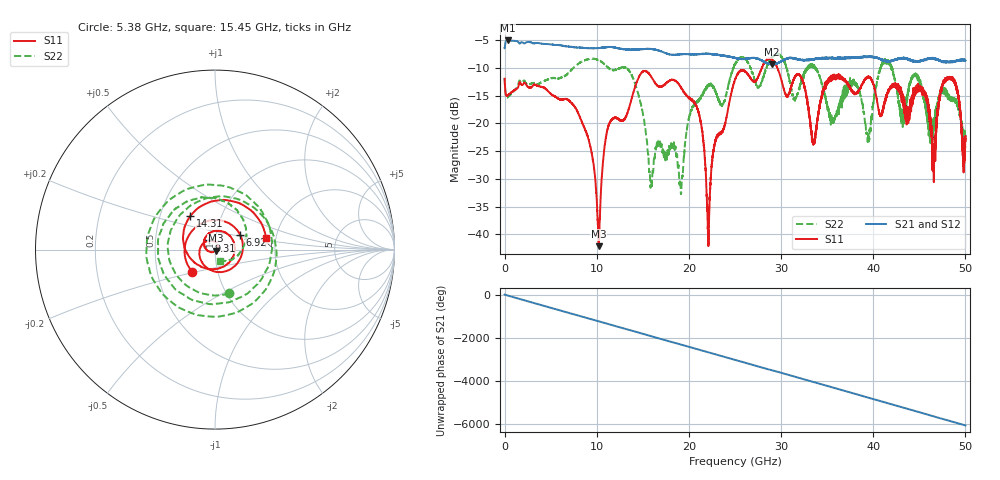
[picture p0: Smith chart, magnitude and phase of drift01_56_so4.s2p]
!Created with skrf (http://scikit-rf.org).
# Hz S RI R 50.0
!freq ReS11 ImS11 ReS21 ImS21 ReS12 ImS12 ReS22 ImS22
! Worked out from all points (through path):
!   10001 points, 300 kHz to 50 GHz, reference 50 ohm
!   highest |S21| = -5.05 dB at 325.3 MHz (marker M1); lowest = -9.4 dB at 28.98 GHz (marker M2)
!   group delay of S21, straight-line fit = 336 ps
!   lowest |S11| = -42.1 dB at 10.23 GHz (marker M3), VSWR 1.02, Z = 50.4 - j0.648 ohm
!   |S11| at or under -10 dB: start of sweep to 27.91 GHz; 29.59 GHz to end of sweep
!   |S22| runs from -32.7 to -7.5 dB; largest |S21 - S12| = 0.012
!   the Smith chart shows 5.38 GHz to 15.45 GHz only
!   S11 on the Smith chart (normalised r, x): 5.38 GHz: 0.76, -0.19; 6.92 GHz: 1.30, +0.22; 9.31 GHz: 0.93, +0.09; 14.31 GHz: 0.71, +0.28; 15.45 GHz: 1.78, +0.25
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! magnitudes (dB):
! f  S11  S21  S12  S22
! 300 kHz  -12.0  -6.4  -6.5  -11.8
! 325.3 MHz  -15.0  -5.1  -5.1  -15.3
! 5.38 GHz  -15.1  -5.9  -5.8  -11.8
! 6.92 GHz  -15.9  -6.2  -6.1  -11.0
! 8.335 GHz  -19.5  -6.4  -6.4  -8.9
! 9.31 GHz  -24.2  -6.4  -6.4  -8.4
! 10.23 GHz  -42.1  -6.4  -6.4  -8.6
! 11.23 GHz  -20.7  -6.2  -6.2  -9.9
! 14.31 GHz  -12.7  -6.7  -6.7  -13.6
! 15.45 GHz  -10.7  -6.6  -6.6  -23.1
! 16.67 GHz  -13.3  -6.9  -6.8  -23.3
! 19.14 GHz  -13.5  -7.5  -7.5  -32.7
! 20.85 GHz  -17.0  -7.6  -7.5  -16.0
! 22.12 GHz  -42.1  -7.5  -7.5  -13.3
! 25 GHz  -12.1  -8.2  -8.2  -9.4
! 28.98 GHz  -8.5  -9.4  -9.4  -8.2
! 33.34 GHz  -22.7  -8.5  -8.4  -9.6
! 39.46 GHz  -11.5  -8.0  -8.0  -22.0
! 41.67 GHz  -13.8  -8.8  -8.7  -9.0
! 46.56 GHz  -26.7  -8.3  -8.3  -20.5
! 48.56 GHz  -12.0  -8.9  -8.9  -15.8
! 50 GHz  -23.2  -8.6  -8.6  -23.4
